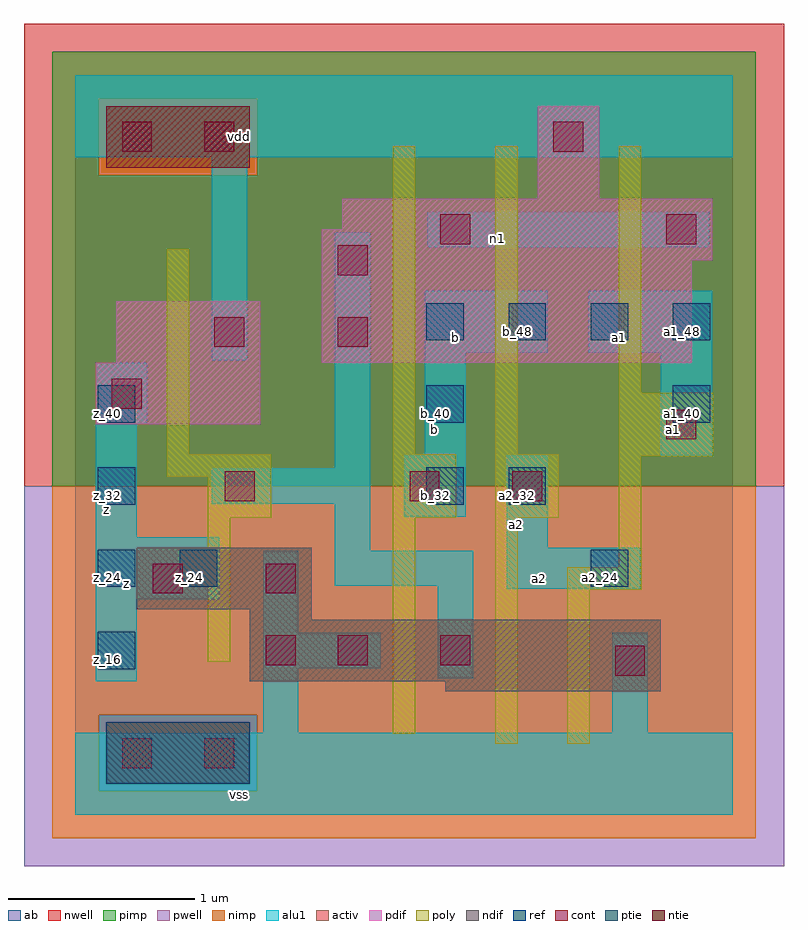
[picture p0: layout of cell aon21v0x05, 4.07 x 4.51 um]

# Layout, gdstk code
import gdstk
lib = gdstk.Library(unit=1e-6, precision=2.5e-09)
def R(c, l, rs):  # rectangles x0, y0, x1, y1
    for r in rs: c.add(gdstk.rectangle(r[:2], r[2:], *l))
def A(c, l, x, y, w, h, nx, ny, dx, dy):  # array of equal rectangles
    R(c, l, [(x+i*dx, y+j*dy, x+i*dx+w, y+j*dy+h) for i in range(nx) for j in range(ny)])
ndif = (3, 0)
pdif = (4, 0)
ntie = (5, 0)
ptie = (6, 0)
ref = (24, 0)
cont = (25, 0)
pwell = (41, 0)
nwell = (42, 0)
activ = (43, 0)
pimp = (44, 0)
nimp = (45, 0)
poly = (46, 0)
alu1 = (49, 0)
ab = (63, 0)

aon21v0x05 = lib.new_cell('aon21v0x05')
R(aon21v0x05, ndif, [(1.98,0.66,3.135,0.715), (0.935,0.715,3.135,1.045), (0.935,1.045,1.265,1.1), (0.33,1.1,1.265,1.43)])
R(aon21v0x05, pdif, [(0.11,2.09,0.99,2.42), (0.22,2.42,0.99,2.75), (1.32,2.42,3.3,2.97), (1.32,2.97,3.41,3.135), (1.43,3.135,3.41,3.3), (2.475,3.3,2.805,3.795)])
R(aon21v0x05, ntie, [(0.165,3.465,0.935,3.795)])
R(aon21v0x05, ptie, [(0.165,0.165,0.935,0.495)])
A(aon21v0x05, ref, 0.12, 0.78, 0.2, 0.2, 1, 4, 0, 0.44)
A(aon21v0x05, ref, 1.88, 2.54, 0.2, 0.2, 4, 1, 0.44, 0)
R(aon21v0x05, ref, [(0.56,1.22,0.76,1.42), (2.76,1.22,2.96,1.42), (1.88,1.66,2.08,1.86), (2.32,1.66,2.52,1.86), (1.88,2.1,2.08,2.3), (3.2,2.1,3.4,2.3)])
R(aon21v0x05, cont, [(0.25,0.25,0.41,0.41), (0.69,0.25,0.85,0.41), (2.89,0.745,3.05,0.905), (1.02,0.8,1.18,0.96), (1.405,0.8,1.565,0.96), (1.955,0.8,2.115,0.96), (0.415,1.185,0.575,1.345), (1.02,1.185,1.18,1.345), (0.8,1.68,0.96,1.84), (1.79,1.68,1.95,1.84), (2.34,1.68,2.5,1.84), (3.165,2.01,3.325,2.17), (0.195,2.175,0.355,2.335), (0.745,2.505,0.905,2.665), (1.405,2.505,1.565,2.665), (1.405,2.89,1.565,3.05), (1.955,3.055,2.115,3.215), (3.165,3.055,3.325,3.215), (0.25,3.55,0.41,3.71), (0.69,3.55,0.85,3.71), (2.56,3.55,2.72,3.71)])
R(aon21v0x05, pwell, [(-0.275,-0.275,3.795,1.76)])
R(aon21v0x05, nwell, [(-0.275,1.76,3.795,4.235)])
R(aon21v0x05, activ, [(0.165,0.165,0.935,0.495), (1.98,0.66,3.135,0.715), (0.935,0.715,3.135,1.045), (0.935,1.045,1.265,1.1), (0.33,1.1,1.265,1.43), (0.11,2.09,0.99,2.42), (0.22,2.42,0.99,2.75), (1.32,2.42,3.3,2.97), (1.32,2.97,3.41,3.135), (1.43,3.135,3.41,3.3), (2.475,3.3,2.805,3.795), (0.165,3.465,0.935,3.795)])
R(aon21v0x05, pimp, [(0.125,0.125,0.975,0.535), (-0.125,1.76,3.645,3.425), (-0.125,3.425,0.125,3.835), (0.975,3.425,3.645,3.835), (-0.125,3.835,3.645,4.085)])
R(aon21v0x05, nimp, [(-0.125,-0.125,3.645,0.125), (-0.125,0.125,0.125,0.535), (0.975,0.125,3.645,0.535), (-0.125,0.535,3.645,1.76), (0.125,3.425,0.975,3.835)])
R(aon21v0x05, poly, [(2.25,0.38,2.37,1.59), (2.635,0.38,2.755,1.205), (1.7,0.435,1.82,1.59), (0.71,0.82,0.83,1.59), (2.635,1.205,3.03,1.325), (2.91,1.325,3.03,1.92), (0.71,1.59,1.05,1.81), (1.7,1.59,2.04,1.93), (2.25,1.59,2.59,1.93), (0.49,1.81,1.05,1.93), (2.91,1.92,3.415,2.26), (0.49,1.93,0.61,3.03), (1.7,1.93,1.82,3.58), (2.25,1.93,2.37,3.58), (2.91,2.26,3.03,3.58)])
R(aon21v0x05, alu1, [(0,0,3.52,0.44), (1.005,0.44,1.195,0.785), (2.875,0.44,3.065,0.975), (0.11,0.715,0.33,1.155), (1.94,0.73,2.13,1.225), (1.005,0.785,1.635,0.975), (1.005,0.975,1.195,1.415), (0.11,1.155,0.77,1.485), (2.31,1.21,3.025,1.43), (1.39,1.225,2.13,1.415), (1.39,1.415,1.58,1.665), (2.31,1.43,2.53,1.925), (0.11,1.485,0.33,2.09), (1.76,1.595,2.09,1.925), (0.73,1.665,1.58,1.855), (1.39,1.855,1.58,3.12), (1.87,1.925,2.09,2.475), (3.135,1.925,3.41,2.475), (0.11,2.09,0.385,2.42), (0.73,2.435,0.92,3.52), (1.87,2.475,2.53,2.805), (2.75,2.475,3.41,2.805), (1.885,3.04,3.395,3.23), (0,3.52,3.52,3.96)])
R(aon21v0x05, ab, [(0,0,3.52,3.96)])
aon21v0x05.add(gdstk.Label('vss', (0.88,0.11), layer=49, texttype=0))
aon21v0x05.add(gdstk.Label('a2', (2.4875,1.265), layer=49, texttype=0))
aon21v0x05.add(gdstk.Label('a2', (2.365,1.5525), layer=49, texttype=0))
aon21v0x05.add(gdstk.Label('z', (0.275,1.2375), layer=49, texttype=0))
aon21v0x05.add(gdstk.Label('a1', (3.2025,2.0625), layer=49, texttype=0))
aon21v0x05.add(gdstk.Label('b', (1.925,2.0625), layer=49, texttype=0))
aon21v0x05.add(gdstk.Label('a1', (2.915,2.5575), layer=49, texttype=0))
aon21v0x05.add(gdstk.Label('b', (2.035,2.5575), layer=49, texttype=0))
aon21v0x05.add(gdstk.Label('n1', (2.2625,3.0875), layer=49, texttype=0))
aon21v0x05.add(gdstk.Label('z', (0.165,1.635), layer=49, texttype=0))
aon21v0x05.add(gdstk.Label('vdd', (0.88,3.63), layer=49, texttype=0))
aon21v0x05.add(gdstk.Label('z_40', (0.17,2.15), layer=24, texttype=0))
aon21v0x05.add(gdstk.Label('z_32', (0.17,1.71), layer=24, texttype=0))
aon21v0x05.add(gdstk.Label('z_24', (0.17,1.27), layer=24, texttype=0))
aon21v0x05.add(gdstk.Label('z_16', (0.17,0.83), layer=24, texttype=0))
aon21v0x05.add(gdstk.Label('a1_40', (3.25,2.15), layer=24, texttype=0))
aon21v0x05.add(gdstk.Label('a1_48', (3.25,2.59), layer=24, texttype=0))
aon21v0x05.add(gdstk.Label('a1_48', (2.81,2.59), layer=24, texttype=0))
aon21v0x05.add(gdstk.Label('a2_24', (2.81,1.27), layer=24, texttype=0))
aon21v0x05.add(gdstk.Label('b_32', (1.93,1.71), layer=24, texttype=0))
aon21v0x05.add(gdstk.Label('b_40', (1.93,2.15), layer=24, texttype=0))
aon21v0x05.add(gdstk.Label('b_48', (1.93,2.59), layer=24, texttype=0))
aon21v0x05.add(gdstk.Label('b_48', (2.37,2.59), layer=24, texttype=0))
aon21v0x05.add(gdstk.Label('z_24', (0.61,1.27), layer=24, texttype=0))
aon21v0x05.add(gdstk.Label('a2_32', (2.37,1.71), layer=24, texttype=0))

lib.write_gds('aon21v0x05.gds')
